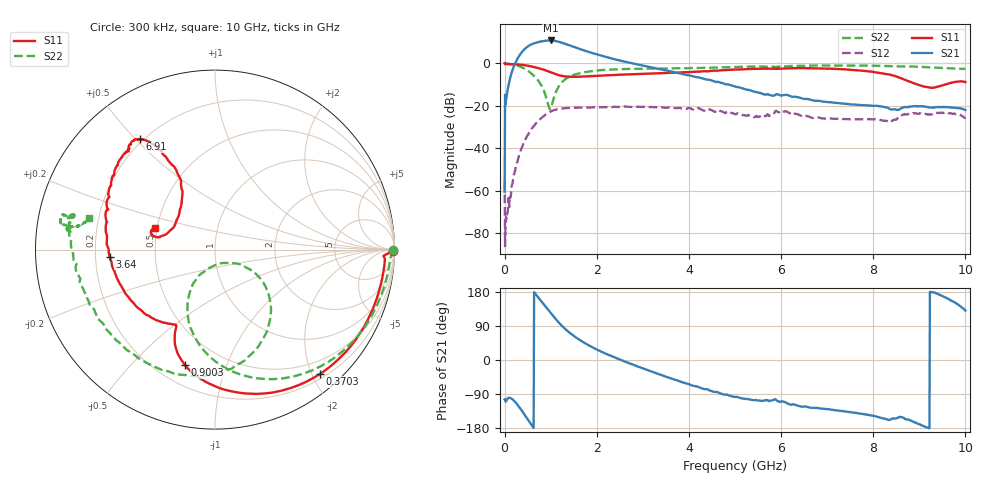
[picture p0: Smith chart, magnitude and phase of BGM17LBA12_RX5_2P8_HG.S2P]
!Agilent Technologies,E5071C,MY46316587,B.13.01
!Date: Fri Dec 08 11:11:07 2017
!Data & Calibration Information:
!Freq	S11:SOLT2(ON)	S21:SOLT2(ON)	S12:SOLT2(ON)	S22:SOLT2(ON)
!PortZ  Port1:50+j0  Port2:50+j0
!Above PortZ is port z conversion or system Z0 setting when saving the data.
!When reading, reference impedance value at option line is always used.
# Hz S dB R 50
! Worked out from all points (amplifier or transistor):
!   1001 points, 300 kHz to 10 GHz, reference 50 ohm
!   highest |S21| = 10.6 dB at 1 GHz (marker M1)
!   |S21| within 3 dB of that: 492.8 MHz to 1.499 GHz (1.006 GHz wide, 101 % of centre)
!   unconditionally stable (mu >= 1): start of sweep to end of sweep
!   at 1.66 GHz: K = 1.46, MAG = 9.6 dB, |S12| = -21.0 dB
!   at 5 GHz: K = 5.48, MAG = -3.9 dB, |S12| = -24.1 dB
!   at 10 GHz: K = 53.75, MAG = -18.3 dB, |S12| = -26.1 dB
!   lowest NFmin = 1.10 dB at 750 MHz
!   S11 on the Smith chart (normalised r, x): 300 kHz: open; 370.3 MHz: 0.27, -2.13; 900.3 MHz: 0.31, -0.73; 3.64 GHz: 0.26, -0.03; 6.91 GHz: 0.19, +0.51; 10 GHz: 0.49, +0.13
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300000  -0.06 -0.3  -60.52 -104.1  -55.91 -67.3  -0.06 -0.2
6.02982e7  -0.48 -8.6  -13.35 -102.8  -70.27 120.1  -0.29 -11.3
2.202934e8  -0.61 -30.0  -0.63 -109.8  -51.05 159.7  -0.86 -39.3
3.702889e8  -0.85 -49.8  5.02 -133.1  -39.91 155.9  -1.97 -64.7
4.902853e8  -1.22 -64.6  7.57 -154.8  -34.29 143.4  -3.44 -83.5
6.402808e8  -1.89 -81.3  9.29 179.0  -29.45 126.0  -6.10 -103.4
7.602772e8  -2.56 -93.0  10.00 160.3  -26.66 112.2  -9.21 -116.3
9.00273e8  -3.53 -104.4  10.53 139.5  -24.07 96.2  -16.23 -119.9
1.00027e9  -4.36 -110.5  10.60 124.3  -22.84 84.1  -21.42 -62.0
1.140266e9  -5.48 -115.0  10.17 103.7  -21.74 68.1  -12.38 -29.7
1.33026e9  -6.32 -116.6  8.91 80.3  -21.22 51.3  -7.43 -43.4
1.490255e9  -6.49 -117.6  7.67 64.5  -21.06 40.7  -5.68 -55.0
1.67025e9  -6.40 -119.6  6.32 49.8  -20.95 31.3  -4.57 -65.7
2.35023e9  -5.67 -134.3  1.97 8.6  -20.68 7.0  -3.01 -95.2
3.3402e9  -4.87 -165.6  -2.73 -37.0  -20.80 -23.5  -2.59 -129.8
3.640191e9  -4.60 -176.2  -4.09 -49.8  -21.17 -32.5  -2.53 -141.1
5.00015e9  -3.07 144.4  -11.08 -97.7  -24.10 -64.2  -1.90 177.0
6.6701e9  -2.45 125.3  -17.45 -126.2  -25.75 -89.4  -1.20 167.1
6.910093e9  -2.58 124.2  -18.10 -128.7  -26.08 -89.1  -1.16 167.6
8.34005e9  -5.36 117.2  -21.38 -158.2  -27.90 -105.0  -1.50 170.5
9.250022e9  -11.63 148.0  -20.93 179.2  -24.09 -138.3  -2.12 170.3
1e10  -8.95 160.3  -22.11 130.4  -26.14 157.6  -2.83 165.7
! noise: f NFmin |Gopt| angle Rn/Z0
6.5e+08  1.229  0.4945  66.87  0.3301
7e+08  1.157  0.5135  70.81  0.2959
7.5e+08  1.105  0.508  72.6  0.2429
8e+08  1.12  0.5033  76.4  0.238
8.5e+08  1.15  0.4689  81.95  0.2205
9e+08  1.178  0.4801  82.19  0.2326
9.5e+08  1.192  0.483  86.26  0.2811
1e+09  1.237  0.4077  90.76  0.2057
